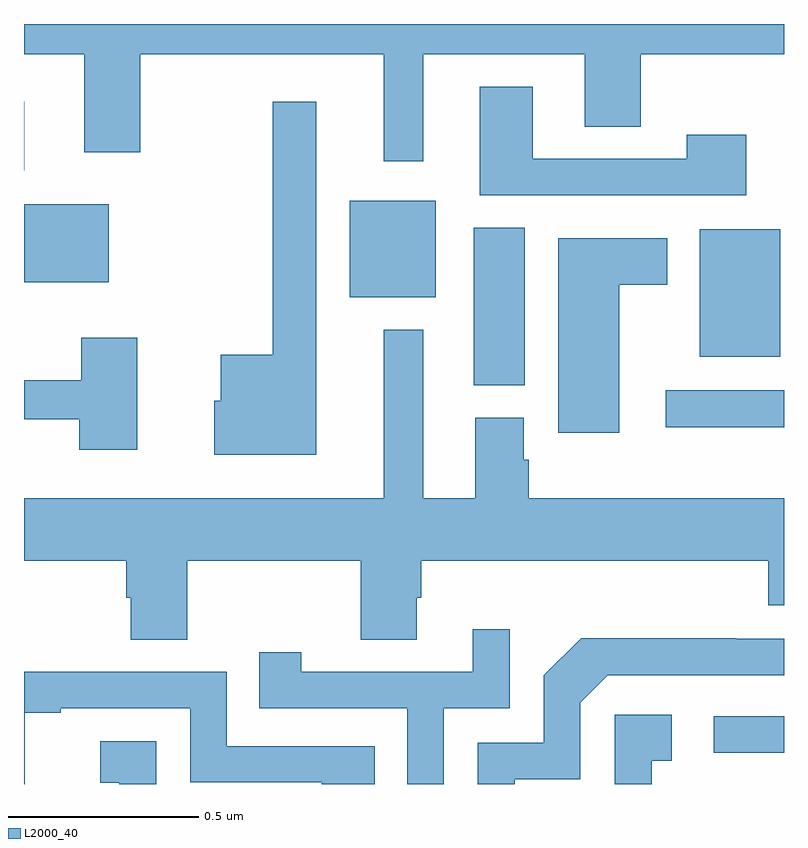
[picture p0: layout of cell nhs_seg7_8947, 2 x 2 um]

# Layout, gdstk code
import gdstk
lib = gdstk.Library(unit=1e-6, precision=1e-09)
def R(c, l, rs):  # rectangles x0, y0, x1, y1
    for r in rs: c.add(gdstk.rectangle(r[:2], r[2:], *l))
def P(c, l, *ps):  # polygons
    for p in ps: c.add(gdstk.Polygon(p, *l))
L2000_40 = (2000, 40)

nhs_seg7_8947 = lib.new_cell('nhs_seg7_8947')
R(nhs_seg7_8947, L2000_40, [(232.815,1028.082,233,1028.178), (232.689,1028.939,233,1029.036), (232.184,1029.049,232.318,1029.464), (232.778,1029.125,232.99,1029.46), (231.857,1029.281,232.084,1029.535), (231,1029.32,231.223,1029.526), (231,1029.615,231.001,1029.796)])
P(nhs_seg7_8947, L2000_40, [(232.051,1029.92),(232.475,1029.92),(232.475,1029.73),(232.623,1029.73),(232.623,1029.92),(233,1029.92),(233,1030),(231,1030),(231,1029.92),(231.158,1029.92),(231.158,1029.663),(231.306,1029.663),(231.306,1029.92),(231.947,1029.92),(231.947,1029.639),(232.051,1029.639)],
  [(232.9,1029.709),(232.744,1029.709),(232.744,1029.645),(232.339,1029.645),(232.339,1029.835),(232.199,1029.835),(232.199,1029.549),(232.9,1029.549)],
  [(231.769,1029.796),(231.655,1029.796),(231.655,1029.13),(231.518,1029.13),(231.518,1029.009),(231.5,1029.009),(231.5,1028.867),(231.769,1028.867)],
  [(232.567,1029.314),(232.693,1029.314),(232.693,1029.436),(232.406,1029.436),(232.406,1028.924),(232.567,1028.924)],
  [(232.033,1028.49),(232.046,1028.49),(232.046,1028.588),(232.958,1028.588),(232.958,1028.471),(233,1028.471),(233,1028.752),(232.328,1028.752),(232.328,1028.853),(232.315,1028.853),(232.315,1028.964),(232.187,1028.964),(232.187,1028.752),(232.051,1028.752),(232.051,1029.196),(231.947,1029.196),(231.947,1028.752),(231,1028.752),(231,1028.588),(231.269,1028.588),(231.269,1028.49),(231.281,1028.49),(231.281,1028.38),(231.429,1028.38),(231.429,1028.588),(231.886,1028.588),(231.886,1028.38),(232.033,1028.38)],
  [(231.298,1029.175),(231.151,1029.175),(231.151,1029.062),(231,1029.062),(231,1028.96),(231.146,1028.96),(231.146,1028.88),(231.298,1028.88)],
  [(232.104,1028.199),(232.278,1028.199),(232.278,1028.407),(232.181,1028.407),(232.181,1028.295),(231.73,1028.295),(231.73,1028.347),(231.619,1028.347),(231.619,1028.199),(232.008,1028.199),(232.008,1028),(232.104,1028)],
  [(232.291,1028.013),(232.464,1028.013),(232.464,1028.214),(232.536,1028.286),(233,1028.286),(233,1028.382),(232.874,1028.382),(232.874,1028.384),(232.466,1028.384),(232.368,1028.286),(232.368,1028.109),(232.194,1028.109),(232.194,1028),(232.291,1028)],
  [(231.002,1028.187),(231.097,1028.187),(231.097,1028.199),(231.438,1028.199),(231.438,1028.004),(231.783,1028.004),(231.783,1028),(231.923,1028),(231.923,1028.1),(231.534,1028.1),(231.534,1028.295),(231,1028.295),(231,1028),(231.002,1028)],
  [(232.652,1028.061),(232.705,1028.061),(232.705,1028.182),(232.554,1028.182),(232.554,1028),(232.652,1028)],
  [(231.348,1028.113),(231.201,1028.113),(231.201,1028.003),(231.25,1028.003),(231.25,1028),(231.348,1028)])

lib.write_gds('nhs_seg7_8947.gds')
